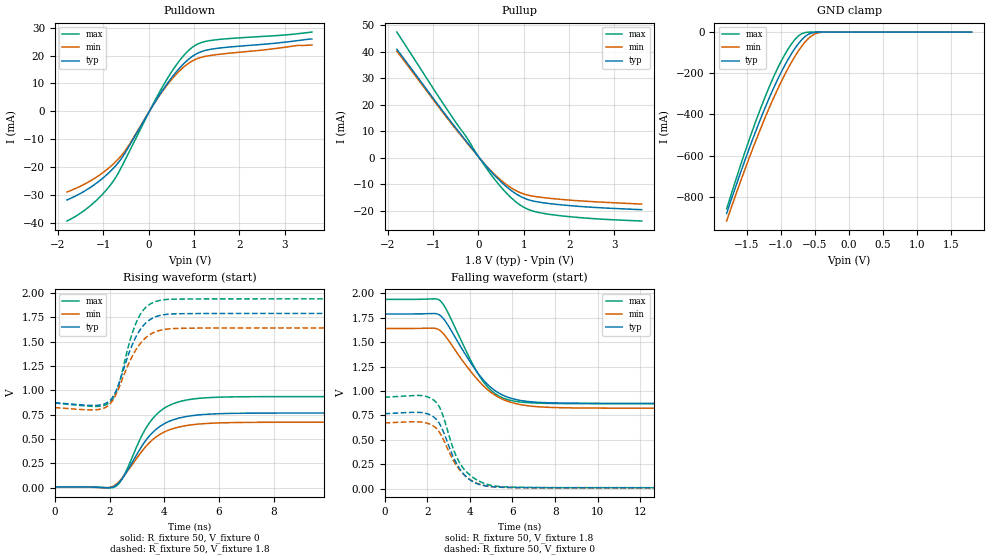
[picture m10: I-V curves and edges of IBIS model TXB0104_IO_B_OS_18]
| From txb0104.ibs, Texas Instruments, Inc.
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[Model]   TXB0104_IO_B_OS_18
Model_type  I/O
Vinl=0.5775
Vinh=1.2675
Enable   Active-High
Vref =   0
Rref =   1E6
Cref =   15p
Vmeas =   0.9
| variable   typ   min   max
C_comp   14.47pF   12.39pF   15.75pF
| C_pullup   15.26pF   12.17pF   17.22pF
| C_pulldown   15.30pF   13.57pF   16.01pF
| C_tri-state   14.47pF   12.39pF   15.75pF
[Temperature Range]   40   100   -40
| Ambient temperature   25   85   -40
[Voltage range]   1.8   1.65   1.95
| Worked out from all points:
|   slope of the pulldown table from 0 to 0.27 V, typ, clamps not added: 38.3 ohm
|   slope of the pullup table from 0 to 0.27 V, typ, clamps not added: 49.3 ohm
|   GND clamp passes 1 mA (typ) near -0.48 V on its own axis
|   rising waveform, R_fixture 50, V_fixture 0: 20-80 % time 1.16ns typ, 1.22ns min, 1.07ns max; typ from 0.009 V to 0.768 V
|   falling waveform, R_fixture 50, V_fixture 1.8: 20-80 % time 1.72ns typ, 1.85ns min, 1.53ns max; typ from 1.79 V to 0.873 V
|   rising waveform, R_fixture 50, V_fixture 1.8: 20-80 % time 757ps typ, 833ps min, 659ps max; typ from 0.873 V to 1.79 V
|   falling waveform, R_fixture 50, V_fixture 0: 20-80 % time 977ps typ, 1.06ns min, 1.01ns max; typ from 0.768 V to 0.009 V
[GND Clamp]
| TXB0104_IO_B_OS_18
|   Voltage   I(typ)   I(min)   I(max)
-1.8V     -881.6mA   -918mA     -859.1mA
-1.465V   -563.3mA   -608.7mA   -520.1mA
-1.315V   -433.3mA   -480.9mA   -383.5mA
-1.18V    -325.1mA   -373.3mA   -271.5mA
-1.05V    -230.3mA   -277.6mA   -175.9mA
-930mV    -152.7mA   -197.2mA   -100.9mA
-820mV    -91.61mA   -131.6mA   -46.23mA
-725mV    -48.5mA    -82.36mA   -14.2mA
-640mV    -20.26mA   -46.01mA   -2.365mA
-560mV    -5.64mA    -20.88mA   -230uA
-405mV    -139uA     -1.583mA   -687.7nA
1.8V      490pA      96.03nA    50.12pA
[Pulldown]
| TXB0104_IO_B_OS_18
|   Voltage   I(typ)   I(min)   I(max)
-1.8V     -31.63mA   -28.79mA   -39.16mA
-1.255V   -26.84mA   -24.53mA   -33.28mA
-1.01V    -23.83mA   -21.88mA   -29.47mA
-795mV    -20.59mA   -19.01mA   -25.24mA
-485mV    -13.88mA   -13.26mA   -16.22mA
80mV      1.766mA    1.752mA    2.073mA
355mV     8.684mA    8.321mA    10.19mA
675mV     15.37mA    14.42mA    18.03mA
955mV     19.58mA    17.97mA    22.83mA
1.15V     21.3mA     19.29mA    24.56mA
1.425V    22.37mA    20.16mA    25.51mA
3.6V      25.89mA    23.73mA    28.39mA
[Pullup]
| TXB0104_IO_B_OS_18
|   Voltage   I(typ)   I(min)   I(max)
-1.8V     40.87mA    40.11mA    47.34mA
-670mV    14.98mA    14.51mA    17.65mA
-255mV    5.951mA    5.655mA    7.547mA
60mV      -853.7uA   -849.9uA   -1.05mA
275mV     -5.144mA   -4.871mA   -6.252mA
480mV     -8.758mA   -8.183mA   -10.67mA
670mV     -11.61mA   -10.72mA   -14.19mA
850mV     -13.78mA   -12.54mA   -16.9mA
1.14V     -15.98mA   -14.23mA   -19.69mA
1.555V    -17.2mA    -15.21mA   -21.25mA
2.485V    -18.59mA   -16.47mA   -22.83mA
3.6V      -19.52mA   -17.41mA   -23.79mA
[Ramp]
| TXB0104_IO_B_OS_18
| variable   typ   min   max
dV/dt_r   0.46/1.16E-09   0.40/1.23E-09   0.56/1.07E-09
dV/dt_f   0.55/1.73E-09   0.49/1.86E-09   0.65/1.54E-09
R_load = 50
[Rising Waveform]
| TXB0104_IO_B_OS_18
R_fixture =   50
C_fixture =   0
L_fixture =   0
V_fixture =   0
V_fixture_min = 0
V_fixture_max = 0
|   Time   V(typ)   V(min)   V(max)
0s        8.643mV    7.492mV    9.18mV
1.875ns   739.3uV    1.117mV    1.342mV
2.225ns   24.05mV    33.26mV    14.78mV
2.53ns    122.6mV    124.2mV    128.5mV
3.27ns    465mV      405.4mV    583.1mV
3.69ns    597.5mV    519.6mV    745.5mV
3.995ns   657.4mV    571.9mV    816.5mV
4.345ns   699.8mV    609.7mV    865.1mV
5.355ns   750.8mV    656.6mV    920.6mV
39.92ns   767.8mV    673.3mV    936.5mV
[Falling Waveform]
| TXB0104_IO_B_OS_18
R_fixture =   50
C_fixture =   0
L_fixture =   0
V_fixture =   1.8
V_fixture_min = 1.65
V_fixture_max = 1.95
|   Time   V(typ)   V(min)   V(max)
0s        1.79V      1.641V     1.939V
2.255ns   1.794V     1.644V     1.944V
2.58ns    1.779V     1.624V     1.931V
2.9ns     1.7V       1.549V     1.834V
4.115ns   1.266V     1.181V     1.283V
4.69ns    1.099V     1.042V     1.08V
5.39ns    975.4mV    931.3mV    945.7mV
6.32ns    905.5mV    862.9mV    888.7mV
9.665ns   874mV      825.1mV    870.2mV
39.92ns   873mV      823.6mV    869.1mV
[Rising Waveform]
| TXB0104_IO_B_OS_18
R_fixture =   50
C_fixture =   0
L_fixture =   0
V_fixture =   1.8
V_fixture_min = 1.65
V_fixture_max = 1.95
|   Time   V(typ)   V(min)   V(max)
0s        872.9mV    823.1mV    869.1mV
1.495ns   846mV      801.1mV    835.5mV
2.03ns    900.7mV    865.4mV    881.9mV
2.17ns    956.6mV    922.4mV    936.8mV
2.3ns     1.037V     997.6mV    1.025V
2.775ns   1.43V      1.319V     1.537V
3.08ns    1.606V     1.464V     1.757V
3.455ns   1.722V     1.569V     1.881V
4.045ns   1.779V     1.627V     1.932V
39.92ns   1.79V      1.641V     1.939V
[Falling Waveform]
| TXB0104_IO_B_OS_18
R_fixture =   50
C_fixture =   0
L_fixture =   0
V_fixture =   0
V_fixture_min = 0
V_fixture_max = 0
|   Time   V(typ)   V(min)   V(max)
0s        767.8mV    673.3mV    936.5mV
1.68ns    780.2mV    682.6mV    954mV
2.32ns    730.8mV    637.1mV    903.8mV
2.495ns   692.6mV    601mV      863.7mV
2.645ns   638.1mV    551mV      801.8mV
3.255ns   309.7mV    278.1mV    390.1mV
3.655ns   164.3mV    156.7mV    220mV
4.31ns    53.27mV    56.28mV    91.59mV
5.26ns    16.18mV    15.91mV    24.05mV
39.92ns   8.643mV    7.491mV    9.18mV
